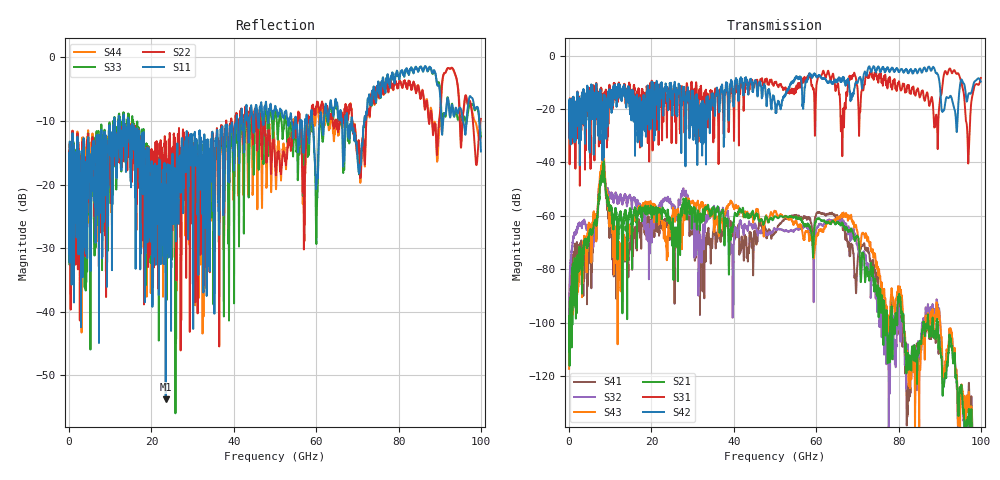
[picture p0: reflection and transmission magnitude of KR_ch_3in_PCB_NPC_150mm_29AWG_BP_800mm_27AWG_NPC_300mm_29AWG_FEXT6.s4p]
# GHz S RI R 45
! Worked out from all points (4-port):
!   4000 points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, 25 MHz to 100 GHz, reference 45 ohm
!   strongest paths, dB at 25 MHz, 25.02 GHz, 50.02 GHz, 75.03 GHz, 100 GHz:
!     S42: -21.3, -17.5, -18.0, -4.3, -9.8
!     S31: -21.2, -15.8, -10.1, -9.6, -8.4
!     S21: -108.3, -69.3, -60.2, -89.8, -160.4
!     S43: -117.3, -60.6, -58.3, -80.8, -153.7
!     S32: -98.4, -56.7, -65.3, -90.8, -183.2
!     S41: -104.9, -66.7, -66.1, -84.0, -154.5
!   lowest |S11| = -53.7 dB at 23.48 GHz (marker M1), VSWR 1.00, Z = 45.2 + j0.109 ohm
!   |S11| at or under -10 dB: start of sweep to 10.95 GHz; 14.45 GHz to 40.64 GHz (26.19 GHz wide, 95.1 % of centre); 68.73 GHz to 71.69 GHz (2.956 GHz wide, 4.21 % of centre)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
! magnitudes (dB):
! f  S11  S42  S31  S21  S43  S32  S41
! 25 MHz  -16.6  -21.3  -21.2  -108.3  -117.3  -98.4  -104.9
! 8.1 GHz  -18.4  -23.8  -21.3  -46.4  -41.9  -44.6  -43.6
! 11.15 GHz  -12.8  -13.3  -15.6  -58.7  -63.9  -53.0  -68.8
! 23.48 GHz  -53.7  -10.6  -15.8  -59.7  -67.7  -53.7  -62.7
! 92.5 GHz  -9.4  -15.2  -4.8  -105.0  -102.3  -103.8  -103.3
! 96.88 GHz  -7.5  -15.0  -38.3  -137.6  -133.4  -142.4  -129.3
! 100 GHz  -14.8  -9.8  -8.4  -160.4  -153.7  -183.2  -154.5
